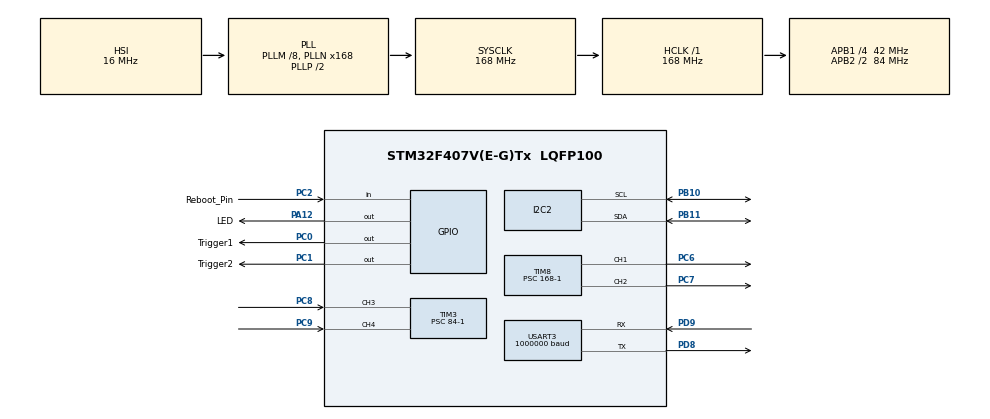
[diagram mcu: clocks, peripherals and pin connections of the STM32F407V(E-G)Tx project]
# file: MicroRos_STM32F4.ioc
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Dma.Request0=USART3_RX
Dma.Request1=USART3_TX
Dma.USART3_RX.0.Direction=DMA_PERIPH_TO_MEMORY
Dma.USART3_RX.0.FIFOMode=DMA_FIFOMODE_DISABLE
Dma.USART3_RX.0.Instance=DMA1_Stream1
Dma.USART3_RX.0.MemDataAlignment=DMA_MDATAALIGN_BYTE
Dma.USART3_RX.0.MemInc=DMA_MINC_ENABLE
Dma.USART3_RX.0.Mode=DMA_CIRCULAR
Dma.USART3_RX.0.PeriphDataAlignment=DMA_PDATAALIGN_BYTE
Dma.USART3_RX.0.PeriphInc=DMA_PINC_DISABLE
Dma.USART3_RX.0.Priority=DMA_PRIORITY_VERY_HIGH
Dma.USART3_TX.1.Direction=DMA_MEMORY_TO_PERIPH
Dma.USART3_TX.1.FIFOMode=DMA_FIFOMODE_DISABLE
Dma.USART3_TX.1.Instance=DMA1_Stream3
Dma.USART3_TX.1.MemDataAlignment=DMA_MDATAALIGN_BYTE
Dma.USART3_TX.1.MemInc=DMA_MINC_ENABLE
Dma.USART3_TX.1.Mode=DMA_NORMAL
Dma.USART3_TX.1.PeriphDataAlignment=DMA_PDATAALIGN_BYTE
Dma.USART3_TX.1.PeriphInc=DMA_PINC_DISABLE
Dma.USART3_TX.1.Priority=DMA_PRIORITY_VERY_HIGH
FREERTOS.Tasks01=defaultTask,24,128,StartDefaultTask,Default,NULL,Dynamic,NULL,NULL;UltrasonicTask,8,128,StartUltrasonicTask,Default,NULL,Dynamic,NULL,NULL;microRosTask,8,3000,StartmicroRosTask,Default,NULL,Static,microRosTaskBuffer,microRosTaskControlBlock
I2C2.I2C_Mode=I2C_Fast
Mcu.Family=STM32F4
Mcu.Name=STM32F407V(E-G)Tx
Mcu.Package=LQFP100
NVIC.DMA1_Stream1_IRQn=true\:5\:0\:false\:false\:true\:true\:false\:true\:true
NVIC.DMA1_Stream3_IRQn=true\:5\:0\:false\:false\:true\:true\:false\:true\:true
NVIC.PriorityGroup=NVIC_PRIORITYGROUP_4
NVIC.TIM3_IRQn=true\:5\:0\:false\:false\:true\:true\:true\:true\:true
NVIC.TIM6_DAC_IRQn=true\:15\:0\:false\:false\:true\:false\:false\:true\:true
NVIC.TimeBase=TIM6_DAC_IRQn
NVIC.TimeBaseIP=TIM6
NVIC.USART3_IRQn=true\:5\:0\:false\:false\:true\:true\:true\:true\:true
PA12.GPIO_Label=LED
PA12.Signal=GPIO_Output
PA13.Mode=Serial_Wire
PA13.Signal=SYS_JTMS-SWDIO
PA14.Mode=Serial_Wire
PA14.Signal=SYS_JTCK-SWCLK
PB10.Mode=I2C
PB10.Signal=I2C2_SCL
PB11.Mode=I2C
PB11.Signal=I2C2_SDA
PC0.GPIO_Label=Trigger1
PC0.Signal=GPIO_Output
PC1.GPIO_Label=Trigger2
PC1.Signal=GPIO_Output
PC14-OSC32_IN.Mode=LSE-External-Oscillator
PC14-OSC32_IN.Signal=RCC_OSC32_IN
PC15-OSC32_OUT.Mode=LSE-External-Oscillator
PC15-OSC32_OUT.Signal=RCC_OSC32_OUT
PC2.GPIO_Label=Reboot_Pin
PC2.GPIO_PuPd=GPIO_PULLDOWN
PC2.Signal=GPIO_Input
PC6.Signal=S_TIM8_CH1
PC7.Signal=S_TIM8_CH2
PC8.Signal=S_TIM3_CH3
PC9.Signal=S_TIM3_CH4
PD8.Mode=Asynchronous
PD8.Signal=USART3_TX
PD9.Mode=Asynchronous
PD9.Signal=USART3_RX
PH0-OSC_IN.Mode=HSE-External-Oscillator
PH0-OSC_IN.Signal=RCC_OSC_IN
PH1-OSC_OUT.Mode=HSE-External-Oscillator
PH1-OSC_OUT.Signal=RCC_OSC_OUT
ProjectManager.HeapSize=0x200
ProjectManager.StackSize=0x400
ProjectManager.TargetToolchain=Makefile
RCC.48MHZClocksFreq_Value=84000000
RCC.AHBFreq_Value=168000000
RCC.APB1CLKDivider=RCC_HCLK_DIV4
RCC.APB1Freq_Value=42000000
RCC.APB1TimFreq_Value=84000000
RCC.APB2CLKDivider=RCC_HCLK_DIV2
RCC.APB2Freq_Value=84000000
RCC.APB2TimFreq_Value=168000000
RCC.CortexFreq_Value=168000000
RCC.HCLKFreq_Value=168000000
RCC.HSE_VALUE=25000000
RCC.HSI_VALUE=16000000
RCC.PLLM=8
RCC.PLLN=168
RCC.SYSCLKFreq_VALUE=168000000
RCC.SYSCLKSource=RCC_SYSCLKSOURCE_PLLCLK
RCC.VCOOutputFreq_Value=336000000
SH.S_TIM3_CH3.0=TIM3_CH3,Input_Capture3_from_TI3
SH.S_TIM3_CH4.0=TIM3_CH4,Input_Capture4_from_TI4
SH.S_TIM8_CH1.0=TIM8_CH1,PWM Generation1 CH1
SH.S_TIM8_CH2.0=TIM8_CH2,PWM Generation2 CH2
TIM3.AutoReloadPreload=TIM_AUTORELOAD_PRELOAD_ENABLE
TIM3.Channel-Input_Capture3_from_TI3=TIM_CHANNEL_3
TIM3.Channel-Input_Capture4_from_TI4=TIM_CHANNEL_4
TIM3.Prescaler=84-1
TIM8.AutoReloadPreload=TIM_AUTORELOAD_PRELOAD_ENABLE
TIM8.Channel-PWM\ Generation1\ CH1=TIM_CHANNEL_1
TIM8.Channel-PWM\ Generation2\ CH2=TIM_CHANNEL_2
TIM8.Period=2000-1
TIM8.Prescaler=168-1
USART3.BaudRate=1000000
USART3.VirtualMode=VM_ASYNC
VP_FREERTOS_VS_CMSIS_V2.Mode=CMSIS_V2
VP_SYS_VS_tim6.Mode=TIM6
VP_TIM3_VS_ClockSourceINT.Mode=Internal
VP_TIM8_VS_ClockSourceINT.Mode=Internal
board=custom

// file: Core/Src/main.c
/* USER CODE BEGIN Header */
/**
  ******************************************************************************
  * @file           : main.c
  * @brief          : Main program body
  ******************************************************************************
  * @attention
  *
  * Copyright (c) 2025 STMicroelectronics.
  * All rights reserved.
  *
  * This software is licensed under terms that can be found in the LICENSE file
  * in the root directory of this software component.
  * If no LICENSE file comes with this software, it is provided AS-IS.
  *
  ******************************************************************************
  */
/* USER CODE END Header */
#include "main.h"
#include "cmsis_os.h"
#include "dma.h"
#include "i2c.h"
#include "tim.h"
#include "usart.h"
#include "gpio.h"

/* USER CODE BEGIN Includes */
#include "mpu6050.h"
#include "ultrasonic.h"
#include "motor_control.h"
/* USER CODE END Includes */

void SystemClock_Config(void);
void MX_FREERTOS_Init(void);

int main(void)
{

  /* MCU Configuration--------------------------------------------------------*/

  /* Reset of all peripherals, Initializes the Flash interface and the Systick. */
  HAL_Init();

  /* Configure the system clock */
  SystemClock_Config();

  /* Initialize all configured peripherals */
  MX_GPIO_Init();
  MX_DMA_Init();
  MX_USART3_UART_Init();
  MX_I2C2_Init();
  MX_TIM8_Init();
  MX_TIM3_Init();
  /* USER CODE BEGIN 2 */

  Motor_initial();

  MPU6050_Init(&hi2c2);

  Ultrasonic_Init();

  /* USER CODE END 2 */

  /* Init scheduler */
  osKernelInitialize();  /* Call init function for freertos objects (in cmsis_os2.c) */
  MX_FREERTOS_Init();

  /* Start scheduler */
  osKernelStart();

  /* We should never get here as control is now taken by the scheduler */

  /* Infinite loop */
  while (1)
  {

  }
}

void SystemClock_Config(void)
{
  RCC_OscInitTypeDef RCC_OscInitStruct = {0};
  RCC_ClkInitTypeDef RCC_ClkInitStruct = {0};

  /** Configure the main internal regulator output voltage
  */
  __HAL_RCC_PWR_CLK_ENABLE();
  __HAL_PWR_VOLTAGESCALING_CONFIG(PWR_REGULATOR_VOLTAGE_SCALE1);

  /** Initializes the RCC Oscillators according to the specified parameters
  * in the RCC_OscInitTypeDef structure.
  */
  RCC_OscInitStruct.OscillatorType = RCC_OSCILLATORTYPE_HSI;
  RCC_OscInitStruct.HSIState = RCC_HSI_ON;
  RCC_OscInitStruct.HSICalibrationValue = RCC_HSICALIBRATION_DEFAULT;
  RCC_OscInitStruct.PLL.PLLState = RCC_PLL_ON;
  RCC_OscInitStruct.PLL.PLLSource = RCC_PLLSOURCE_HSI;
  RCC_OscInitStruct.PLL.PLLM = 8;
  RCC_OscInitStruct.PLL.PLLN = 168;
  RCC_OscInitStruct.PLL.PLLP = RCC_PLLP_DIV2;
  RCC_OscInitStruct.PLL.PLLQ = 4;
  if (HAL_RCC_OscConfig(&RCC_OscInitStruct) != HAL_OK)
  {
    Error_Handler();
  }

  /** Initializes the CPU, AHB and APB buses clocks
  */
  RCC_ClkInitStruct.ClockType = RCC_CLOCKTYPE_HCLK|RCC_CLOCKTYPE_SYSCLK
                              |RCC_CLOCKTYPE_PCLK1|RCC_CLOCKTYPE_PCLK2;
  RCC_ClkInitStruct.SYSCLKSource = RCC_SYSCLKSOURCE_PLLCLK;
  RCC_ClkInitStruct.AHBCLKDivider = RCC_SYSCLK_DIV1;
  RCC_ClkInitStruct.APB1CLKDivider = RCC_HCLK_DIV4;
  RCC_ClkInitStruct.APB2CLKDivider = RCC_HCLK_DIV2;

  if (HAL_RCC_ClockConfig(&RCC_ClkInitStruct, FLASH_LATENCY_5) != HAL_OK)
  {
    Error_Handler();
  }
}

void HAL_TIM_PeriodElapsedCallback(TIM_HandleTypeDef *htim)
{
  if (htim->Instance == TIM6)
  {
    HAL_IncTick();
  }
  /* USER CODE BEGIN Callback 1 */
  if(htim->Instance == htim3.Instance)	//溢出中断
  {
    Ultrasonic_TIM_PeriodElapsedCallback();
  }
  /* USER CODE END Callback 1 */
}

void Error_Handler(void)
{
  __disable_irq();
  while (1)
  {
  }
}

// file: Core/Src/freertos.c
/* USER CODE BEGIN Header */
/**
  ******************************************************************************
  * File Name          : freertos.c
  * Description        : Code for freertos applications
  ******************************************************************************
  * @attention
  *
  * Copyright (c) 2025 STMicroelectronics.
  * All rights reserved.
  *
  * This software is licensed under terms that can be found in the LICENSE file
  * in the root directory of this software component.
  * If no LICENSE file comes with this software, it is provided AS-IS.
  *
  ******************************************************************************
  */
/* USER CODE END Header */

#include "FreeRTOS.h"
#include "task.h"
#include "main.h"
#include "cmsis_os.h"

/* USER CODE BEGIN Includes */
#include "micro_ros.h"

#include "gpio.h"
#include "tim.h"
#include "mpu6050.h"
#include "ultrasonic.h"
#include "motor_control.h"
/* USER CODE END Includes */

typedef StaticTask_t osStaticThreadDef_t;

/* Definitions for defaultTask */
osThreadId_t defaultTaskHandle;
const osThreadAttr_t defaultTask_attributes = {
  .name = "defaultTask",
  .stack_size = 128 * 4,
  .priority = (osPriority_t) osPriorityNormal,
};
/* Definitions for UltrasonicTask */
osThreadId_t UltrasonicTaskHandle;
const osThreadAttr_t UltrasonicTask_attributes = {
  .name = "UltrasonicTask",
  .stack_size = 128 * 4,
  .priority = (osPriority_t) osPriorityLow,
};
/* Definitions for microRosTask */
osThreadId_t microRosTaskHandle;
uint32_t microRosTaskBuffer[ 3000 ];
osStaticThreadDef_t microRosTaskControlBlock;
const osThreadAttr_t microRosTask_attributes = {
  .name = "microRosTask",
  .cb_mem = &microRosTaskControlBlock,
  .cb_size = sizeof(microRosTaskControlBlock),
  .stack_mem = &microRosTaskBuffer[0],
  .stack_size = sizeof(microRosTaskBuffer),
  .priority = (osPriority_t) osPriorityLow,
};

/* USER CODE BEGIN FunctionPrototypes */

void Reboot_Check()
{
  static uint8_t RebootPin_status = GPIO_PIN_RESET;
  if((HAL_GPIO_ReadPin(Reboot_Pin_GPIO_Port,Reboot_Pin_Pin) == GPIO_PIN_SET) && (RebootPin_status == GPIO_PIN_RESET))
  {
    NVIC_SystemReset();
  }

  RebootPin_status = HAL_GPIO_ReadPin(Reboot_Pin_GPIO_Port,Reboot_Pin_Pin);
}

/* USER CODE END FunctionPrototypes */

void StartDefaultTask(void *argument);
void StartUltrasonicTask(void *argument);
void StartmicroRosTask(void *argument);

void MX_FREERTOS_Init(void); /* (MISRA C 2004 rule 8.1) */

void MX_FREERTOS_Init(void) {

  /* Create the thread(s) */
  /* creation of defaultTask */
  defaultTaskHandle = osThreadNew(StartDefaultTask, NULL, &defaultTask_attributes);

  /* creation of UltrasonicTask */
  UltrasonicTaskHandle = osThreadNew(StartUltrasonicTask, NULL, &UltrasonicTask_attributes);

  /* creation of microRosTask */
  microRosTaskHandle = osThreadNew(StartmicroRosTask, NULL, &microRosTask_attributes);

}

void StartDefaultTask(void *argument)
{
  /* USER CODE BEGIN StartDefaultTask */
  /* Infinite loop */
  for(;;)
  {
    osDelay(10);
  }
  /* USER CODE END StartDefaultTask */
}

void StartUltrasonicTask(void *argument)
{
  /* USER CODE BEGIN StartUltrasonicTask */
  /* Infinite loop */
  for(;;)
  {
    Reboot_Check();
    Ultrasonic_Start();
    osDelay(80);
  }
  /* USER CODE END StartUltrasonicTask */
}

void StartmicroRosTask(void *argument)
{
  /* USER CODE BEGIN StartmicroRosTask */
  TickType_t xLastWakeTime;
  const TickType_t xFrequency = pdMS_TO_TICKS(10); // 10 ms

  // Initialize xLastWakeTime with the current tick count
  xLastWakeTime = xTaskGetTickCount();

  Micro_Ros_initial();
  /* Infinite loop */
  for(;;)
  {
    Micro_Ros_Process();
    //osDelay(5);
    vTaskDelayUntil(&xLastWakeTime, xFrequency);
  }
  /* USER CODE END StartmicroRosTask */
}
